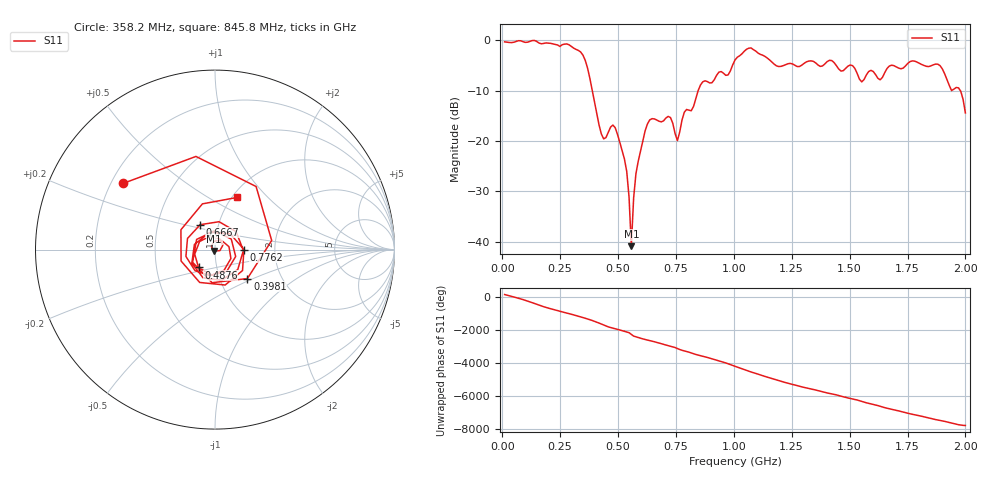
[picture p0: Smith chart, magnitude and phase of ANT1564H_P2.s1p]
!Created with skrf (http://scikit-rf.org).
# Hz S RI R 50.0
!freq ReS11 ImS11
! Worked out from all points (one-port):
!   201 points, 10 MHz to 2 GHz, reference 50 ohm
!   lowest |S11| = -40.9 dB at 557.2 MHz (marker M1), VSWR 1.02, Z = 49.6 - j0.801 ohm
!   |S11| at or under -10 dB: 388.5 MHz to 845.9 MHz (457.4 MHz wide, 74.1 % of centre); 1.978 GHz to end of sweep
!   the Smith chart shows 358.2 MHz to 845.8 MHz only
!   S11 on the Smith chart (normalised r, x): 358.2 MHz: 0.25, +0.30; 398.1 MHz: 1.35, -0.46; 487.6 MHz: 0.82, -0.17; 666.7 MHz: 0.82, +0.23; 776.1 MHz: 1.38, +0.00; 845.8 MHz: 1.06, +0.68
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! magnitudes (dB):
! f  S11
! 10 MHz  -0.3
! 258.8 MHz  -0.9
! 358.2 MHz  -4.0
! 398.1 MHz  -12.3
! 437.9 MHz  -19.6
! 487.6 MHz  -17.4
! 507.5 MHz  -20.3
! 537.4 MHz  -26.1
! 547.3 MHz  -31.1
! 557.2 MHz  -40.9
! 567.2 MHz  -31.4
! 587.1 MHz  -24.0
! 626.9 MHz  -16.6
! 666.7 MHz  -15.8
! 726.4 MHz  -15.4
! 756.2 MHz  -19.9
! 776.1 MHz  -15.8
! 845.8 MHz  -10.0
! 1.005 GHz  -3.9
! 1.075 GHz  -1.5
! 1.254 GHz  -4.7
! 1.502 GHz  -4.9
! 1.552 GHz  -8.3
! 1.751 GHz  -4.6
! 1.891 GHz  -5.0
! 1.94 GHz  -10.0
! 1.98 GHz  -10.1
! 2 GHz  -14.4
